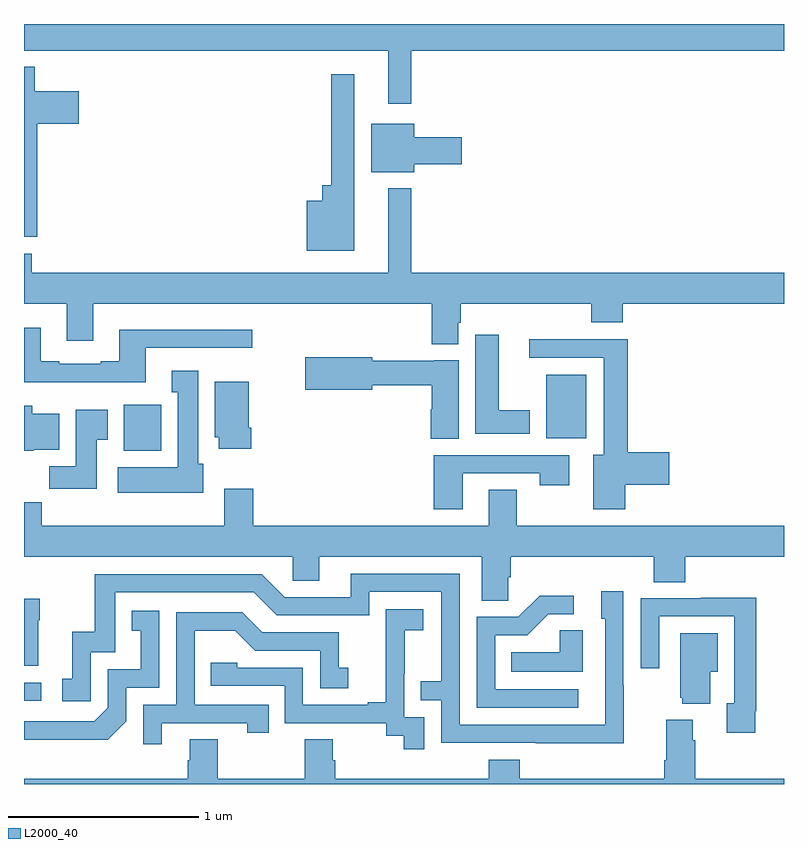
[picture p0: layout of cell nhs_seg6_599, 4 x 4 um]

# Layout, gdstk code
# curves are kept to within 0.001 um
import gdstk
lib = gdstk.Library(unit=1e-6, precision=1e-09)
def R(c, l, rs):  # rectangles x0, y0, x1, y1
    for r in rs: c.add(gdstk.rectangle(r[:2], r[2:], *l))
def P(c, l, *ps):  # polygons
    for p in ps: c.add(gdstk.Polygon(p, *l))
L2000_40 = (2000, 40)

nhs_seg6_599 = lib.new_cell('nhs_seg6_599')
R(nhs_seg6_599, L2000_40, [(149,919.938,149.092,920.034), (149.525,921.254,149.722,921.496), (151.748,921.32,151.96,921.655)])
P(nhs_seg6_599, L2000_40, [(151.039,923.36),(153,923.36),(153,923.5),(149,923.5),(149,923.36),(150.917,923.36),(150.917,923.079),(151.039,923.079)],
  [(149.069,922.976),(149.287,922.976),(149.287,923.146),(149.056,923.146),(149.056,923.275),(149,923.275),(149,922.379),(149.069,922.379)],
  [(150.739,923.236),(150.618,923.236),(150.618,922.651),(150.569,922.651),(150.569,922.57),(150.488,922.57),(150.488,922.307),(150.739,922.307)],
  [(151.054,922.763),(151.303,922.763),(151.303,922.905),(151.054,922.905),(151.054,922.975),(150.827,922.975),(150.827,922.721),(151.054,922.721)],
  [(151.285,921.927),(151.298,921.927),(151.298,922.028),(151.985,922.028),(151.985,921.929),(152.15,921.929),(152.15,922.028),(153,922.028),(153,922.192),(151.039,922.192),(151.039,922.636),(150.917,922.636),(150.917,922.192),(149.042,922.192),(149.042,922.291),(149,922.291),(149,922.028),(149.225,922.028),(149.225,921.834),(149.365,921.834),(149.365,922.028),(151.145,922.028),(151.145,921.815),(151.285,921.815)],
  [(149.641,921.795),(150.202,921.795),(150.202,921.892),(149.501,921.892),(149.501,921.724),(149.405,921.724),(149.405,921.711),(149.185,921.711),(149.185,921.724),(149.089,921.724),(149.089,921.901),(149,921.901),(149,921.614),(149.641,921.614)],
  [(151.663,921.466),(151.498,921.466),(151.498,921.865),(151.376,921.865),(151.376,921.344),(151.663,921.344)],
  [(152.164,921.074),(152.395,921.074),(152.395,921.245),(152.177,921.245),(152.177,921.842),(151.659,921.842),(151.659,921.744),(152.051,921.744),(152.051,921.232),(151.997,921.232),(151.997,920.946),(152.164,920.946)],
  [(151.288,921.73),(151.158,921.73),(151.158,921.727),(150.832,921.727),(150.832,921.745),(150.48,921.745),(150.48,921.575),(150.832,921.575),(150.832,921.598),(151.147,921.598),(151.147,921.473),(151.142,921.473),(151.142,921.316),(151.288,921.316)],
  [(149.944,921.186),(149.917,921.186),(149.917,921.676),(149.777,921.676),(149.777,921.563),(149.81,921.563),(149.81,921.166),(149.493,921.166),(149.493,921.032),(149.944,921.032)],
  [(150.197,921.376),(150.184,921.376),(150.184,921.616),(150.005,921.616),(150.005,921.324),(150.026,921.324),(150.026,921.264),(150.197,921.264)],
  [(149.052,921.26),(149.185,921.26),(149.185,921.448),(149.044,921.448),(149.044,921.492),(149,921.492),(149,921.254),(149.052,921.254)],
  [(149.383,921.313),(149.44,921.313),(149.44,921.469),(149.273,921.469),(149.273,921.172),(149.134,921.172),(149.134,921.054),(149.383,921.054)],
  [(151.309,921.135),(151.714,921.135),(151.714,921.072),(151.87,921.072),(151.87,921.231),(151.157,921.231),(151.157,920.946),(151.309,920.946)],
  [(151.548,920.587),(151.562,920.587),(151.562,920.696),(152.315,920.696),(152.315,920.563),(152.48,920.563),(152.48,920.696),(153,920.696),(153,920.86),(151.593,920.86),(151.593,921.05),(151.445,921.05),(151.445,920.86),(150.206,920.86),(150.206,921.055),(150.053,921.055),(150.053,920.86),(149.093,920.86),(149.093,920.984),(149,920.984),(149,920.696),(150.414,920.696),(150.414,920.569),(150.553,920.569),(150.553,920.696),(151.409,920.696),(151.409,920.464),(151.548,920.464)],
  [(152.157,920.021),(152.154,920.021),(152.154,920.515),(152.039,920.515),(152.039,920.37),(152.058,920.37),(152.058,919.812),(151.293,919.812),(151.293,920.607),(150.719,920.607),(150.719,920.484),(150.372,920.484),(150.252,920.604),(149.373,920.604),(149.373,920.302),(149.255,920.302),(149.255,920.055),(149.202,920.055),(149.202,919.935),(149.352,919.935),(149.352,920.193),(149.481,920.193),(149.481,920.508),(150.21,920.508),(150.33,920.388),(150.816,920.388),(150.816,920.511),(151.197,920.511),(151.197,920.042),(151.087,920.042),(151.087,919.941),(151.197,919.941),(151.197,919.716),(152.157,919.715)],
  [(151.918,919.998),(151.479,919.998),(151.479,920.283),(151.648,920.283),(151.759,920.394),(151.894,920.394),(151.894,920.492),(151.715,920.492),(151.602,920.379),(151.383,920.379),(151.383,919.902),(151.918,919.902)],
  [(152.848,919.882),(152.855,919.882),(152.855,920.48),(152.563,920.48),(152.563,920.478),(152.247,920.478),(152.247,920.109),(152.343,920.109),(152.343,920.382),(152.739,920.382),(152.739,919.926),(152.699,919.926),(152.699,919.77),(152.848,919.77)],
  [(149.074,920.363),(149.082,920.363),(149.082,920.476),(149,920.476),(149,920.123),(149.074,920.123)],
  [(151.107,919.851),(151.002,919.851),(151.002,920.081),(151.004,920.081),(151.004,920.309),(151.102,920.309),(151.102,920.419),(150.904,920.419),(150.904,920.213),(150.905,920.213),(150.905,919.93),(150.809,919.93),(150.809,919.917),(150.468,919.917),(150.468,920.112),(150.123,920.112),(150.123,920.139),(149.983,920.139),(149.983,920.016),(150.372,920.016),(150.372,919.821),(150.906,919.821),(150.906,919.753),(150.999,919.753),(150.999,919.683),(151.107,919.683)],
  [(149.538,919.83),(149.538,920.007),(149.712,920.007),(149.712,920.413),(149.566,920.413),(149.566,920.307),(149.615,920.307),(149.615,920.103),(149.442,920.103),(149.442,919.902),(149.37,919.83),(149,919.83),(149,919.734),(149.032,919.733),(149.44,919.733)],
  [(149.725,919.821),(150.176,919.821),(150.176,919.77),(150.287,919.77),(150.287,919.917),(149.898,919.917),(149.898,920.306),(150.112,920.306),(150.216,920.202),(150.558,920.202),(150.558,920.004),(150.706,920.004),(150.706,920.113),(150.657,920.113),(150.657,920.298),(150.253,920.298),(150.148,920.403),(149.802,920.403),(149.802,919.917),(149.628,919.917),(149.628,919.71),(149.725,919.71)],
  [(151.942,920.309),(151.821,920.309),(151.821,920.194),(151.564,920.194),(151.564,920.09),(151.942,920.09)],
  [(152.611,920.09),(152.65,920.09),(152.65,920.293),(152.453,920.293),(152.453,919.953),(152.465,919.953),(152.465,919.922),(152.611,919.922)],
  [(153,919.528),(152.534,919.528),(152.534,919.73),(152.521,919.73),(152.521,919.837),(152.381,919.837),(152.381,919.624),(152.369,919.624),(152.369,919.528),(151.61,919.528),(151.61,919.627),(151.445,919.627),(151.445,919.528),(150.638,919.528),(150.638,919.626),(150.625,919.626),(150.625,919.736),(150.478,919.736),(150.478,919.528),(150.021,919.528),(150.021,919.736),(149.873,919.736),(149.873,919.626),(149.861,919.626),(149.861,919.528),(149,919.528),(149,919.5),(153,919.5)])

lib.write_gds('nhs_seg6_599.gds')
